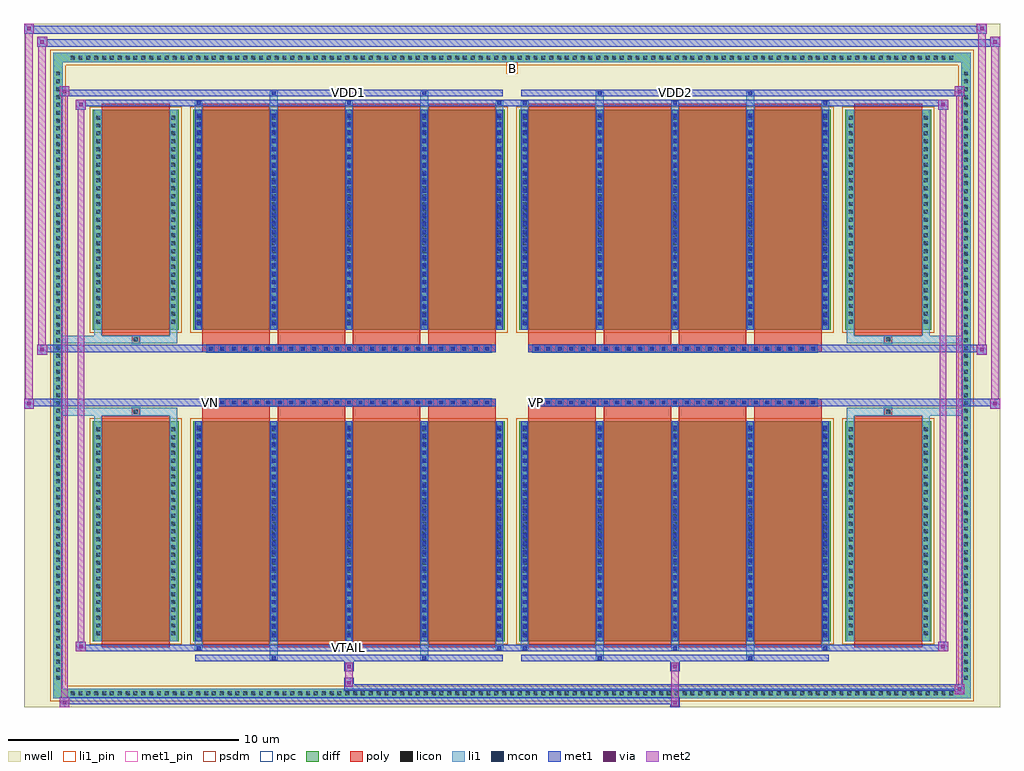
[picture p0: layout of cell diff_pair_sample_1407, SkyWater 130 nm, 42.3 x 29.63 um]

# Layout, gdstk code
import gdstk
lib = gdstk.Library(unit=1e-6, precision=5e-09)
def R(c, l, rs):  # rectangles x0, y0, x1, y1
    for r in rs: c.add(gdstk.rectangle(r[:2], r[2:], *l))
def A(c, l, x, y, w, h, nx, ny, dx, dy):  # array of equal rectangles
    R(c, l, [(x+i*dx, y+j*dy, x+i*dx+w, y+j*dy+h) for i in range(nx) for j in range(ny)])
def P(c, l, *ps):  # polygons
    for p in ps: c.add(gdstk.Polygon(p, *l))
nwell = (64, 20)
diff = (65, 20)
poly = (66, 20)
licon = (66, 44)
li1_pin = (67, 16)
li1 = (67, 20)
mcon = (67, 44)
met1_pin = (68, 16)
met1 = (68, 20)
via = (68, 44)
met2 = (69, 20)
psdm = (94, 20)
npc = (95, 20)

diff_pair_sample_1407 = lib.new_cell('diff_pair_sample_1407')
R(diff_pair_sample_1407, nwell, [(-21.15,-14.38,21.15,15.25), (-18.47,-12.57,-0.01,-0.805), (0.01,-12.57,18.47,-0.805), (-18.47,0.805,-0.01,12.57), (0.01,0.805,18.47,12.57)])
A(diff_pair_sample_1407, diff, -19.245, -13.98, 0.41, 0.41, 113, 2, 0.34, 27.55)
A(diff_pair_sample_1407, diff, -19.88, -13.295, 0.41, 0.41, 1, 78, 0, 0.34)
A(diff_pair_sample_1407, diff, 19.47, -13.295, 0.41, 0.41, 1, 78, 0, 0.34)
R(diff_pair_sample_1407, diff, [(-19.245,-13.98,19.245,-13.57), (-19.88,-13.295,-19.47,13.295), (19.47,-13.295,19.88,13.295), (-18.16,-11.525,-14.45,-1.985), (-13.81,-11.525,-0.32,-1.985), (0.32,-11.525,13.81,-1.985), (14.45,-11.525,18.16,-1.985), (-18.16,1.985,-14.45,11.525), (-13.81,1.985,-0.32,11.525), (0.32,1.985,13.81,11.525), (14.45,1.985,18.16,11.525), (-19.245,13.57,19.245,13.98)])
P(diff_pair_sample_1407, diff, [(19.88,13.98),(-19.88,13.98),(-19.88,-13.57),(-19.47,-13.57),(-19.47,13.57),(19.47,13.57),(19.47,-13.57),(-19.47,-13.57),(-19.88,-13.57),(-19.88,-13.98),(19.88,-13.98)])
A(diff_pair_sample_1407, poly, -13.42, -11.775, 2.93, 10.04, 4, 2, 3.26, 13.51)
A(diff_pair_sample_1407, poly, 0.71, -11.775, 2.93, 10.04, 4, 2, 3.26, 13.51)
A(diff_pair_sample_1407, poly, -13.42, -1.735, 2.93, 0.4, 4, 2, 3.26, 3.07)
A(diff_pair_sample_1407, poly, 0.71, -1.735, 2.93, 0.4, 4, 2, 3.26, 3.07)
A(diff_pair_sample_1407, poly, -13.23, -1.335, 0.33, 0.33, 25, 2, 0.5, 2.34)
A(diff_pair_sample_1407, poly, 0.9, -1.335, 0.33, 0.33, 25, 2, 0.5, 2.34)
R(diff_pair_sample_1407, poly, [(-17.77,-11.775,-14.84,-1.735), (14.84,-11.775,17.77,-1.735), (-16.47,-1.735,-16.14,-1.405), (-16.47,-1.735,-16.14,-1.405), (16.14,-1.735,16.47,-1.405), (16.14,-1.735,16.47,-1.405), (-13.42,-1.335,-0.71,-1.005), (0.71,-1.335,13.42,-1.005), (-13.42,1.005,-0.71,1.335), (0.71,1.005,13.42,1.335), (-16.47,1.405,-16.14,1.735), (-16.47,1.405,-16.14,1.735), (16.14,1.405,16.47,1.735), (16.14,1.405,16.47,1.735), (-17.77,1.735,-14.84,11.775), (14.84,1.735,17.77,11.775)])
A(diff_pair_sample_1407, licon, -19.125, -13.86, 0.17, 0.17, 113, 2, 0.34, 27.55)
A(diff_pair_sample_1407, licon, -19.76, -13.175, 0.17, 0.17, 1, 78, 0, 0.34)
A(diff_pair_sample_1407, licon, 19.59, -13.175, 0.17, 0.17, 1, 78, 0, 0.34)
A(diff_pair_sample_1407, licon, -18.02, -11.26, 0.17, 0.17, 1, 27, 0, 0.34)
A(diff_pair_sample_1407, licon, -14.76, -11.26, 0.17, 0.17, 1, 27, 0, 0.34)
A(diff_pair_sample_1407, licon, -13.67, -11.26, 0.17, 0.17, 5, 27, 3.26, 0.34)
A(diff_pair_sample_1407, licon, 0.46, -11.26, 0.17, 0.17, 5, 27, 3.26, 0.34)
A(diff_pair_sample_1407, licon, 14.59, -11.26, 0.17, 0.17, 1, 27, 0, 0.34)
A(diff_pair_sample_1407, licon, 17.85, -11.26, 0.17, 0.17, 1, 27, 0, 0.34)
A(diff_pair_sample_1407, licon, -13.15, -1.255, 0.17, 0.17, 25, 2, 0.5, 2.34)
A(diff_pair_sample_1407, licon, 0.98, -1.255, 0.17, 0.17, 25, 2, 0.5, 2.34)
A(diff_pair_sample_1407, licon, -18.02, 2.25, 0.17, 0.17, 1, 27, 0, 0.34)
A(diff_pair_sample_1407, licon, -14.76, 2.25, 0.17, 0.17, 1, 27, 0, 0.34)
A(diff_pair_sample_1407, licon, -13.67, 2.25, 0.17, 0.17, 5, 27, 3.26, 0.34)
A(diff_pair_sample_1407, licon, 0.46, 2.25, 0.17, 0.17, 5, 27, 3.26, 0.34)
A(diff_pair_sample_1407, licon, 14.59, 2.25, 0.17, 0.17, 1, 27, 0, 0.34)
A(diff_pair_sample_1407, licon, 17.85, 2.25, 0.17, 0.17, 1, 27, 0, 0.34)
R(diff_pair_sample_1407, licon, [(-16.39,-1.655,-16.22,-1.485), (16.22,-1.655,16.39,-1.485), (-16.39,1.485,-16.22,1.655), (16.22,1.485,16.39,1.655)])
R(diff_pair_sample_1407, li1_pin, [(-0.25,13.07,0.25,13.57)])
A(diff_pair_sample_1407, li1, -19.205, -13.94, 0.33, 0.33, 113, 2, 0.34, 27.55)
A(diff_pair_sample_1407, li1, -19.84, -13.255, 0.33, 0.33, 1, 78, 0, 0.34)
A(diff_pair_sample_1407, li1, 19.51, -13.255, 0.33, 0.33, 1, 78, 0, 0.34)
A(diff_pair_sample_1407, li1, -13.75, -11.9, 0.33, 0.375, 3, 2, 6.52, 23.425)
A(diff_pair_sample_1407, li1, -13.67, -11.9, 0.17, 0.17, 3, 2, 6.52, 23.63)
A(diff_pair_sample_1407, li1, 0.38, -11.9, 0.33, 0.375, 3, 2, 6.52, 23.425)
A(diff_pair_sample_1407, li1, 0.46, -11.9, 0.17, 0.17, 3, 2, 6.52, 23.63)
A(diff_pair_sample_1407, li1, -13.75, -11.525, 0.33, 9.54, 5, 2, 3.26, 13.51)
A(diff_pair_sample_1407, li1, 0.38, -11.525, 0.33, 9.54, 5, 2, 3.26, 13.51)
A(diff_pair_sample_1407, li1, -18.1, -11.34, 0.33, 0.33, 1, 27, 0, 0.34)
A(diff_pair_sample_1407, li1, -14.84, -11.34, 0.33, 0.33, 1, 27, 0, 0.34)
A(diff_pair_sample_1407, li1, -13.75, -11.34, 0.33, 0.33, 5, 27, 3.26, 0.34)
A(diff_pair_sample_1407, li1, -13.67, -11.34, 0.17, 0.17, 5, 26, 3.26, 0.36)
A(diff_pair_sample_1407, li1, -13.67, -11.34, 0.17, 9.17, 5, 2, 3.26, 13.51)
A(diff_pair_sample_1407, li1, 0.38, -11.34, 0.33, 0.33, 5, 27, 3.26, 0.34)
A(diff_pair_sample_1407, li1, 0.46, -11.34, 0.17, 0.17, 5, 26, 3.26, 0.36)
A(diff_pair_sample_1407, li1, 0.46, -11.34, 0.17, 9.17, 5, 2, 3.26, 13.51)
A(diff_pair_sample_1407, li1, 14.51, -11.34, 0.33, 0.33, 1, 27, 0, 0.34)
A(diff_pair_sample_1407, li1, 17.77, -11.34, 0.33, 0.33, 1, 27, 0, 0.34)
A(diff_pair_sample_1407, li1, -13.23, -1.335, 0.33, 0.33, 25, 2, 0.5, 2.34)
A(diff_pair_sample_1407, li1, 0.9, -1.335, 0.33, 0.33, 25, 2, 0.5, 2.34)
A(diff_pair_sample_1407, li1, -18.1, 2.17, 0.33, 0.33, 1, 27, 0, 0.34)
A(diff_pair_sample_1407, li1, -14.84, 2.17, 0.33, 0.33, 1, 27, 0, 0.34)
A(diff_pair_sample_1407, li1, -13.75, 2.17, 0.33, 0.33, 5, 27, 3.26, 0.34)
A(diff_pair_sample_1407, li1, -13.67, 2.17, 0.17, 0.17, 5, 26, 3.26, 0.36)
A(diff_pair_sample_1407, li1, 0.38, 2.17, 0.33, 0.33, 5, 27, 3.26, 0.34)
A(diff_pair_sample_1407, li1, 0.46, 2.17, 0.17, 0.17, 5, 26, 3.26, 0.36)
A(diff_pair_sample_1407, li1, 14.51, 2.17, 0.33, 0.33, 1, 27, 0, 0.34)
A(diff_pair_sample_1407, li1, 17.77, 2.17, 0.33, 0.33, 1, 27, 0, 0.34)
R(diff_pair_sample_1407, li1, [(-19.88,-13.98,-19.47,-13.57), (-19.88,-13.98,-19.47,-13.57), (-19.47,-13.98,19.47,-13.57), (19.47,-13.98,19.88,-13.57), (19.47,-13.98,19.88,-13.57), (-19.88,-13.57,-19.47,13.57), (19.47,-13.57,19.88,13.57), (-10.49,-12.33,-10.16,-11.525), (-10.41,-12.33,-10.24,-12.16), (-3.97,-12.33,-3.64,-11.525), (-3.89,-12.33,-3.72,-12.16), (3.64,-12.33,3.97,-11.525), (3.72,-12.33,3.89,-12.16), (10.16,-12.33,10.49,-11.525), (10.24,-12.33,10.41,-12.16), (-18.1,-11.525,-17.77,-1.985), (-14.84,-11.525,-14.51,-1.985), (14.51,-11.525,14.84,-1.985), (17.77,-11.525,18.1,-1.985), (-18.1,-1.985,-17.77,-1.405), (-14.84,-1.985,-14.51,-1.405), (14.51,-1.985,14.84,-1.405), (17.77,-1.985,18.1,-1.405), (-19.88,-1.735,-16.47,-1.405), (-18.1,-1.735,-16.47,-1.405), (-16.47,-1.735,-16.14,-1.405), (-16.14,-1.735,-14.51,-1.405), (14.51,-1.735,16.14,-1.405), (16.14,-1.735,16.47,-1.405), (16.14,-1.735,19.88,-1.405), (16.47,-1.735,18.1,-1.405), (-19.88,1.405,-16.47,1.735), (-18.1,1.405,-16.47,1.735), (-18.1,1.405,-17.77,1.985), (-16.47,1.405,-16.14,1.735), (-16.14,1.405,-14.51,1.735), (-14.84,1.405,-14.51,1.985), (14.51,1.405,16.14,1.735), (14.51,1.405,14.84,1.985), (16.14,1.405,16.47,1.735), (16.14,1.405,19.88,1.735), (16.47,1.405,18.1,1.735), (17.77,1.405,18.1,1.985), (-18.1,1.985,-17.77,11.525), (-14.84,1.985,-14.51,11.525), (14.51,1.985,14.84,11.525), (17.77,1.985,18.1,11.525), (-10.49,11.525,-10.16,12.33), (-3.97,11.525,-3.64,12.33), (3.64,11.525,3.97,12.33), (10.16,11.525,10.49,12.33), (-10.41,12.16,-10.24,12.33), (-3.89,12.16,-3.72,12.33), (3.72,12.16,3.89,12.33), (10.24,12.16,10.41,12.33), (-19.88,13.57,-19.47,13.98), (-19.88,13.57,-19.47,13.98), (-19.47,13.57,19.47,13.98), (19.47,13.57,19.88,13.98), (19.47,13.57,19.88,13.98)])
A(diff_pair_sample_1407, mcon, -13.67, -11.9, 0.17, 0.17, 3, 2, 6.52, 23.63)
A(diff_pair_sample_1407, mcon, 0.46, -11.9, 0.17, 0.17, 3, 2, 6.52, 23.63)
A(diff_pair_sample_1407, mcon, -13.67, -11.34, 0.17, 0.17, 5, 26, 3.26, 0.36)
A(diff_pair_sample_1407, mcon, 0.46, -11.34, 0.17, 0.17, 5, 26, 3.26, 0.36)
A(diff_pair_sample_1407, mcon, -13.15, -1.255, 0.17, 0.17, 25, 2, 0.5, 2.34)
A(diff_pair_sample_1407, mcon, 0.98, -1.255, 0.17, 0.17, 25, 2, 0.5, 2.34)
A(diff_pair_sample_1407, mcon, -13.67, 2.17, 0.17, 0.17, 5, 26, 3.26, 0.36)
A(diff_pair_sample_1407, mcon, 0.46, 2.17, 0.17, 0.17, 5, 26, 3.26, 0.36)
R(diff_pair_sample_1407, mcon, [(-10.41,-12.33,-10.24,-12.16), (-3.89,-12.33,-3.72,-12.16), (3.72,-12.33,3.89,-12.16), (10.24,-12.33,10.41,-12.16), (-10.41,12.16,-10.24,12.33), (-3.89,12.16,-3.72,12.33), (3.72,12.16,3.89,12.33), (10.24,12.16,10.41,12.33)])
R(diff_pair_sample_1407, met1_pin, [(-7.2,-11.94,-6.93,-11.67), (-13.2,-1.295,-12.93,-1.025), (0.93,-1.295,1.2,-1.025), (-7.2,12.12,-6.93,12.39), (6.93,12.12,7.2,12.39)])
A(diff_pair_sample_1407, met1, -13.73, -11.96, 0.29, 0.29, 3, 2, 6.52, 23.63)
A(diff_pair_sample_1407, met1, 0.4, -11.96, 0.29, 0.29, 3, 2, 6.52, 23.63)
A(diff_pair_sample_1407, met1, -13.73, -11.525, 0.29, 9.54, 5, 2, 3.26, 13.51)
A(diff_pair_sample_1407, met1, 0.4, -11.525, 0.29, 9.54, 5, 2, 3.26, 13.51)
A(diff_pair_sample_1407, met1, -13.73, -11.4, 0.29, 0.29, 5, 26, 3.26, 0.36)
A(diff_pair_sample_1407, met1, 0.4, -11.4, 0.29, 0.29, 5, 26, 3.26, 0.36)
A(diff_pair_sample_1407, met1, -13.21, -1.315, 0.29, 0.29, 25, 2, 0.5, 2.34)
A(diff_pair_sample_1407, met1, 0.92, -1.315, 0.29, 0.29, 25, 2, 0.5, 2.34)
A(diff_pair_sample_1407, met1, -13.73, 2.11, 0.29, 0.29, 5, 26, 3.26, 0.36)
A(diff_pair_sample_1407, met1, 0.4, 2.11, 0.29, 0.29, 5, 26, 3.26, 0.36)
R(diff_pair_sample_1407, met1, [(-19.61,-14.38,-19.18,-13.95), (6.85,-14.38,7.28,-13.95), (-19.61,-14.24,7.28,-13.95), (19.18,-13.81,19.61,-13.38), (-7.28,-13.67,19.61,-13.38), (-7.28,-13.53,-6.85,-13.1), (-7.28,-12.82,-6.85,-12.39), (6.85,-12.82,7.28,-12.39), (-13.73,-12.39,-0.4,-12.1), (-10.47,-12.39,-10.18,-12.1), (-3.95,-12.39,-3.66,-12.1), (0.4,-12.39,13.73,-12.1), (3.66,-12.39,3.95,-12.1), (10.18,-12.39,10.47,-12.1), (-18.9,-11.96,-18.47,-11.53), (-18.9,-11.96,-13.73,-11.67), (-13.73,-11.96,-0.4,-11.67), (-0.4,-11.96,0.4,-11.67), (0.4,-11.96,13.73,-11.67), (13.73,-11.96,18.9,-11.67), (18.47,-11.96,18.9,-11.53), (-21.15,-1.435,-20.72,-1.005), (20.72,-1.435,21.15,-1.005), (-21.15,-1.335,-0.71,-1.005), (-13.42,-1.335,-0.71,-1.005), (0.71,-1.335,13.42,-1.005), (0.71,-1.335,21.15,-1.005), (-20.58,0.905,-20.15,1.335), (20.15,0.905,20.58,1.335), (-20.58,1.005,-13.42,1.335), (-13.42,1.005,-0.71,1.335), (0.71,1.005,13.42,1.335), (13.42,1.005,20.58,1.335), (-18.9,11.53,-18.47,11.96), (18.47,11.53,18.9,11.96), (-18.9,11.67,-13.73,11.96), (-13.73,11.67,-0.4,11.96), (-0.4,11.67,0.4,11.96), (0.4,11.67,13.73,11.96), (13.73,11.67,18.9,11.96), (-19.61,12.1,-19.18,12.53), (-19.61,12.1,-13.73,12.39), (-13.73,12.1,-0.4,12.39), (-10.47,12.1,-10.18,12.39), (-3.95,12.1,-3.66,12.39), (0.4,12.1,13.73,12.39), (3.66,12.1,3.95,12.39), (10.18,12.1,10.47,12.39), (13.73,12.1,19.61,12.39), (19.18,12.1,19.61,12.53), (-20.58,14.25,-20.15,14.68), (-20.58,14.25,-18.47,14.58), (-18.47,14.25,18.47,14.58), (18.47,14.25,21.15,14.58), (20.72,14.25,21.15,14.68), (-21.15,14.82,-20.72,15.25), (-21.15,14.82,-18.47,15.15), (-18.47,14.82,18.47,15.15), (18.47,14.82,20.58,15.15), (20.15,14.82,20.58,15.25)])
R(diff_pair_sample_1407, via, [(-19.47,-14.24,-19.32,-14.09), (6.99,-14.24,7.14,-14.09), (19.32,-13.67,19.47,-13.52), (-7.14,-13.39,-6.99,-13.24), (-7.14,-12.68,-6.99,-12.53), (6.99,-12.68,7.14,-12.53), (-18.76,-11.82,-18.61,-11.67), (18.61,-11.82,18.76,-11.67), (-21.01,-1.295,-20.86,-1.145), (20.86,-1.295,21.01,-1.145), (-20.44,1.045,-20.29,1.195), (20.29,1.045,20.44,1.195), (-18.76,11.67,-18.61,11.82), (18.61,11.67,18.76,11.82), (-19.47,12.24,-19.32,12.39), (19.32,12.24,19.47,12.39), (-20.44,14.39,-20.29,14.54), (20.86,14.39,21.01,14.54), (-21.01,14.96,-20.86,15.11), (20.29,14.96,20.44,15.11)])
R(diff_pair_sample_1407, met2, [(-19.61,-14.38,-19.18,-13.95), (-19.54,-14.38,-19.25,12.53), (-19.25,-14.38,-19.18,-13.95), (-19.56,-14.33,-19.23,-14), (6.9,-14.33,7.23,-14), (6.9,-14,7.23,-12.77), (19.18,-13.81,19.61,-13.38), (19.25,-13.81,19.54,12.53), (19.54,-13.81,19.61,-13.38), (19.23,-13.76,19.56,-13.43), (-7.23,-13.48,-6.9,-13.15), (-7.23,-13.15,-6.9,-12.77), (-7.23,-12.77,-6.9,-12.44), (6.9,-12.77,7.23,-12.44), (-18.9,-11.96,-18.47,-11.53), (-18.83,-11.96,-18.54,11.96), (-18.54,-11.96,-18.47,-11.53), (18.47,-11.96,18.9,-11.53), (18.54,-11.96,18.83,11.96), (18.83,-11.96,18.9,-11.53), (-18.85,-11.91,-18.52,-11.58), (18.52,-11.91,18.85,-11.58), (-21.15,-1.435,-20.72,-1.005), (-21.1,-1.435,-20.77,15.25), (-20.77,-1.435,-20.72,-1.005), (20.72,-1.435,21.15,-1.005), (20.77,-1.435,21.1,14.68), (21.1,-1.435,21.15,-1.005), (-21.1,-1.385,-20.77,-1.055), (20.77,-1.385,21.1,-1.055), (-20.58,0.905,-20.15,1.335), (-20.53,0.905,-20.2,14.68), (-20.2,0.905,-20.15,1.335), (20.15,0.905,20.58,1.335), (20.2,0.905,20.53,15.25), (20.53,0.905,20.58,1.335), (-20.53,0.955,-20.2,1.285), (20.2,0.955,20.53,1.285), (-18.9,11.53,-18.47,11.96), (-18.54,11.53,-18.47,11.96), (18.47,11.53,18.9,11.96), (18.83,11.53,18.9,11.96), (-18.85,11.58,-18.52,11.91), (18.52,11.58,18.85,11.91), (-19.61,12.1,-19.18,12.53), (-19.25,12.1,-19.18,12.53), (19.18,12.1,19.61,12.53), (19.54,12.1,19.61,12.53), (-19.56,12.15,-19.23,12.48), (19.23,12.15,19.56,12.48), (-20.58,14.25,-20.15,14.68), (-20.2,14.25,-20.15,14.68), (20.72,14.25,21.15,14.68), (21.1,14.25,21.15,14.68), (-20.53,14.3,-20.2,14.63), (20.77,14.3,21.1,14.63), (-21.15,14.82,-20.72,15.25), (-20.77,14.82,-20.72,15.25), (20.15,14.82,20.58,15.25), (20.53,14.82,20.58,15.25), (-21.1,14.87,-20.77,15.2), (20.2,14.87,20.53,15.2)])
R(diff_pair_sample_1407, psdm, [(-18.29,-11.655,-14.32,-1.855), (-13.94,-11.655,-0.19,-1.855), (0.19,-11.655,13.94,-1.855), (14.32,-11.655,18.29,-1.855), (-18.29,1.855,-14.32,11.655), (-13.94,1.855,-0.19,11.655), (0.19,1.855,13.94,11.655), (14.32,1.855,18.29,11.655)])
P(diff_pair_sample_1407, psdm, [(20.01,14.11),(-20.01,14.11),(-20.01,-13.44),(-19.34,-13.44),(-19.34,13.44),(19.34,13.44),(19.34,-13.44),(-19.34,-13.44),(-20.01,-13.44),(-20.01,-14.11),(20.01,-14.11)])
A(diff_pair_sample_1407, npc, -13.25, -1.355, 0.37, 0.37, 25, 2, 0.5, 2.34)
A(diff_pair_sample_1407, npc, 0.88, -1.355, 0.37, 0.37, 25, 2, 0.5, 2.34)
R(diff_pair_sample_1407, npc, [(-16.49,-1.755,-16.12,-1.385), (16.12,-1.755,16.49,-1.385), (-13.25,-1.355,-12.38,-0.985), (-13.25,-1.355,-12.38,-0.985), (-12.75,-1.355,-11.88,-0.985), (-12.75,-1.355,-11.88,-0.985), (-12.25,-1.355,-11.38,-0.985), (-12.25,-1.355,-11.38,-0.985), (-11.75,-1.355,-10.88,-0.985), (-11.75,-1.355,-10.88,-0.985), (-11.25,-1.355,-10.38,-0.985), (-11.25,-1.355,-10.38,-0.985), (-10.75,-1.355,-9.88,-0.985), (-10.75,-1.355,-9.88,-0.985), (-10.25,-1.355,-9.38,-0.985), (-10.25,-1.355,-9.38,-0.985), (-9.75,-1.355,-8.88,-0.985), (-9.75,-1.355,-8.88,-0.985), (-9.25,-1.355,-8.38,-0.985), (-9.25,-1.355,-8.38,-0.985), (-8.75,-1.355,-7.88,-0.985), (-8.75,-1.355,-7.88,-0.985), (-8.25,-1.355,-7.38,-0.985), (-8.25,-1.355,-7.38,-0.985), (-7.75,-1.355,-6.88,-0.985), (-7.75,-1.355,-6.88,-0.985), (-7.25,-1.355,-6.38,-0.985), (-7.25,-1.355,-6.38,-0.985), (-6.75,-1.355,-5.88,-0.985), (-6.75,-1.355,-5.88,-0.985), (-6.25,-1.355,-5.38,-0.985), (-6.25,-1.355,-5.38,-0.985), (-5.75,-1.355,-4.88,-0.985), (-5.75,-1.355,-4.88,-0.985), (-5.25,-1.355,-4.38,-0.985), (-5.25,-1.355,-4.38,-0.985), (-4.75,-1.355,-3.88,-0.985), (-4.75,-1.355,-3.88,-0.985), (-4.25,-1.355,-3.38,-0.985), (-4.25,-1.355,-3.38,-0.985), (-3.75,-1.355,-2.88,-0.985), (-3.75,-1.355,-2.88,-0.985), (-3.25,-1.355,-2.38,-0.985), (-3.25,-1.355,-2.38,-0.985), (-2.75,-1.355,-1.88,-0.985), (-2.75,-1.355,-1.88,-0.985), (-2.25,-1.355,-1.38,-0.985), (-2.25,-1.355,-1.38,-0.985), (-1.75,-1.355,-0.88,-0.985), (-1.75,-1.355,-0.88,-0.985), (0.88,-1.355,1.75,-0.985), (0.88,-1.355,1.75,-0.985), (1.38,-1.355,2.25,-0.985), (1.38,-1.355,2.25,-0.985), (1.88,-1.355,2.75,-0.985), (1.88,-1.355,2.75,-0.985), (2.38,-1.355,3.25,-0.985), (2.38,-1.355,3.25,-0.985), (2.88,-1.355,3.75,-0.985), (2.88,-1.355,3.75,-0.985), (3.38,-1.355,4.25,-0.985), (3.38,-1.355,4.25,-0.985), (3.88,-1.355,4.75,-0.985), (3.88,-1.355,4.75,-0.985), (4.38,-1.355,5.25,-0.985), (4.38,-1.355,5.25,-0.985), (4.88,-1.355,5.75,-0.985), (4.88,-1.355,5.75,-0.985), (5.38,-1.355,6.25,-0.985), (5.38,-1.355,6.25,-0.985), (5.88,-1.355,6.75,-0.985), (5.88,-1.355,6.75,-0.985), (6.38,-1.355,7.25,-0.985), (6.38,-1.355,7.25,-0.985), (6.88,-1.355,7.75,-0.985), (6.88,-1.355,7.75,-0.985), (7.38,-1.355,8.25,-0.985), (7.38,-1.355,8.25,-0.985), (7.88,-1.355,8.75,-0.985), (7.88,-1.355,8.75,-0.985), (8.38,-1.355,9.25,-0.985), (8.38,-1.355,9.25,-0.985), (8.88,-1.355,9.75,-0.985), (8.88,-1.355,9.75,-0.985), (9.38,-1.355,10.25,-0.985), (9.38,-1.355,10.25,-0.985), (9.88,-1.355,10.75,-0.985), (9.88,-1.355,10.75,-0.985), (10.38,-1.355,11.25,-0.985), (10.38,-1.355,11.25,-0.985), (10.88,-1.355,11.75,-0.985), (10.88,-1.355,11.75,-0.985), (11.38,-1.355,12.25,-0.985), (11.38,-1.355,12.25,-0.985), (11.88,-1.355,12.75,-0.985), (11.88,-1.355,12.75,-0.985), (12.38,-1.355,13.25,-0.985), (12.38,-1.355,13.25,-0.985), (-13.25,0.985,-12.38,1.355), (-13.25,0.985,-12.38,1.355), (-12.75,0.985,-11.88,1.355), (-12.75,0.985,-11.88,1.355), (-12.25,0.985,-11.38,1.355), (-12.25,0.985,-11.38,1.355), (-11.75,0.985,-10.88,1.355), (-11.75,0.985,-10.88,1.355), (-11.25,0.985,-10.38,1.355), (-11.25,0.985,-10.38,1.355), (-10.75,0.985,-9.88,1.355), (-10.75,0.985,-9.88,1.355), (-10.25,0.985,-9.38,1.355), (-10.25,0.985,-9.38,1.355), (-9.75,0.985,-8.88,1.355), (-9.75,0.985,-8.88,1.355), (-9.25,0.985,-8.38,1.355), (-9.25,0.985,-8.38,1.355), (-8.75,0.985,-7.88,1.355), (-8.75,0.985,-7.88,1.355), (-8.25,0.985,-7.38,1.355), (-8.25,0.985,-7.38,1.355), (-7.75,0.985,-6.88,1.355), (-7.75,0.985,-6.88,1.355), (-7.25,0.985,-6.38,1.355), (-7.25,0.985,-6.38,1.355), (-6.75,0.985,-5.88,1.355), (-6.75,0.985,-5.88,1.355), (-6.25,0.985,-5.38,1.355), (-6.25,0.985,-5.38,1.355), (-5.75,0.985,-4.88,1.355), (-5.75,0.985,-4.88,1.355), (-5.25,0.985,-4.38,1.355), (-5.25,0.985,-4.38,1.355), (-4.75,0.985,-3.88,1.355), (-4.75,0.985,-3.88,1.355), (-4.25,0.985,-3.38,1.355), (-4.25,0.985,-3.38,1.355), (-3.75,0.985,-2.88,1.355), (-3.75,0.985,-2.88,1.355), (-3.25,0.985,-2.38,1.355), (-3.25,0.985,-2.38,1.355), (-2.75,0.985,-1.88,1.355), (-2.75,0.985,-1.88,1.355), (-2.25,0.985,-1.38,1.355), (-2.25,0.985,-1.38,1.355), (-1.75,0.985,-0.88,1.355), (-1.75,0.985,-0.88,1.355), (0.88,0.985,1.75,1.355), (0.88,0.985,1.75,1.355), (1.38,0.985,2.25,1.355), (1.38,0.985,2.25,1.355), (1.88,0.985,2.75,1.355), (1.88,0.985,2.75,1.355), (2.38,0.985,3.25,1.355), (2.38,0.985,3.25,1.355), (2.88,0.985,3.75,1.355), (2.88,0.985,3.75,1.355), (3.38,0.985,4.25,1.355), (3.38,0.985,4.25,1.355), (3.88,0.985,4.75,1.355), (3.88,0.985,4.75,1.355), (4.38,0.985,5.25,1.355), (4.38,0.985,5.25,1.355), (4.88,0.985,5.75,1.355), (4.88,0.985,5.75,1.355), (5.38,0.985,6.25,1.355), (5.38,0.985,6.25,1.355), (5.88,0.985,6.75,1.355), (5.88,0.985,6.75,1.355), (6.38,0.985,7.25,1.355), (6.38,0.985,7.25,1.355), (6.88,0.985,7.75,1.355), (6.88,0.985,7.75,1.355), (7.38,0.985,8.25,1.355), (7.38,0.985,8.25,1.355), (7.88,0.985,8.75,1.355), (7.88,0.985,8.75,1.355), (8.38,0.985,9.25,1.355), (8.38,0.985,9.25,1.355), (8.88,0.985,9.75,1.355), (8.88,0.985,9.75,1.355), (9.38,0.985,10.25,1.355), (9.38,0.985,10.25,1.355), (9.88,0.985,10.75,1.355), (9.88,0.985,10.75,1.355), (10.38,0.985,11.25,1.355), (10.38,0.985,11.25,1.355), (10.88,0.985,11.75,1.355), (10.88,0.985,11.75,1.355), (11.38,0.985,12.25,1.355), (11.38,0.985,12.25,1.355), (11.88,0.985,12.75,1.355), (11.88,0.985,12.75,1.355), (12.38,0.985,13.25,1.355), (12.38,0.985,13.25,1.355), (-16.49,1.385,-16.12,1.755), (16.12,1.385,16.49,1.755)])
diff_pair_sample_1407.add(gdstk.Label('VTAIL', (-7.065,-11.805), layer=68, texttype=5))
diff_pair_sample_1407.add(gdstk.Label('VN', (-13.065,-1.16), layer=68, texttype=5))
diff_pair_sample_1407.add(gdstk.Label('VP', (1.065,-1.16), layer=68, texttype=5))
diff_pair_sample_1407.add(gdstk.Label('B', (0,13.32), layer=67, texttype=5))
diff_pair_sample_1407.add(gdstk.Label('VDD2', (7.065,12.255), layer=68, texttype=5))
diff_pair_sample_1407.add(gdstk.Label('VDD1', (-7.065,12.255), layer=68, texttype=5))

lib.write_gds('diff_pair_sample_1407.gds')
